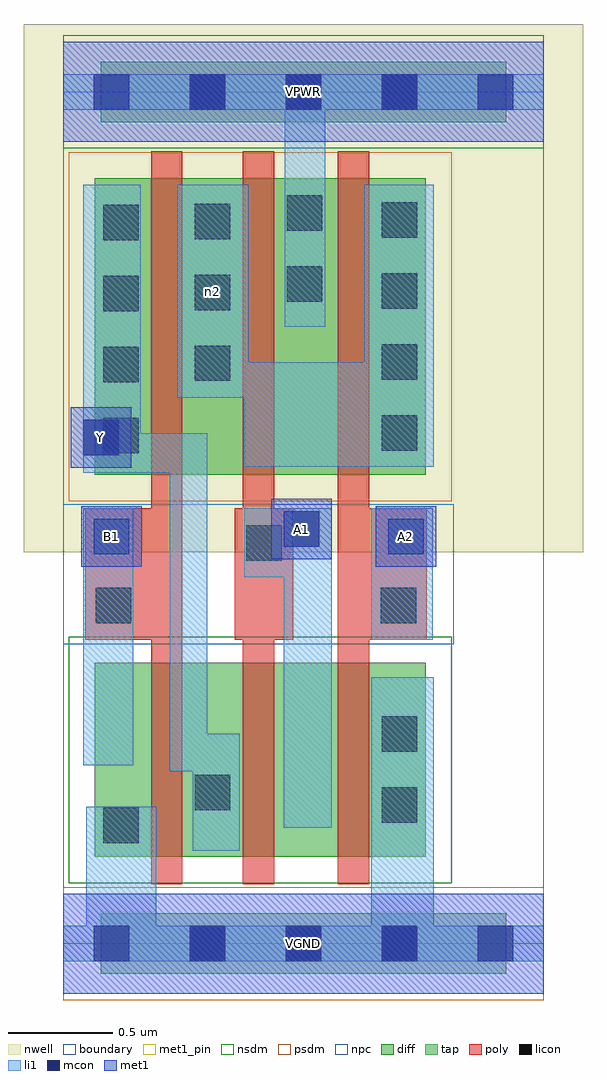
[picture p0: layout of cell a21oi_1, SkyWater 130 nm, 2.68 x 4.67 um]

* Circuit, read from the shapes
.subckt a21oi_1 A1 A2 B1 VGND VPWR Y n2
XM1 Y B1 VGND VGND sky130_fd_pr__nfet_01v8 w=0.93 l=0.15
XM2 n1 A1 Y VGND sky130_fd_pr__nfet_01v8 w=0.93 l=0.15
XM3 VGND A2 n1 VGND sky130_fd_pr__nfet_01v8 w=0.93 l=0.15
XM4 n2 B1 Y VPWR sky130_fd_pr__pfet_01v8 w=1.42 l=0.15
XM5 VPWR A1 n2 VPWR sky130_fd_pr__pfet_01v8 w=1.42 l=0.15
XM6 n2 A2 VPWR VPWR sky130_fd_pr__pfet_01v8 w=1.42 l=0.15
.ends

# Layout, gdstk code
import gdstk
lib = gdstk.Library(unit=1e-6, precision=1e-09)
def R(c, l, rs):  # rectangles x0, y0, x1, y1
    for r in rs: c.add(gdstk.rectangle(r[:2], r[2:], *l))
def A(c, l, x, y, w, h, nx, ny, dx, dy):  # array of equal rectangles
    R(c, l, [(x+i*dx, y+j*dy, x+i*dx+w, y+j*dy+h) for i in range(nx) for j in range(ny)])
nwell = (64, 20)
diff = (65, 20)
tap = (65, 44)
poly = (66, 20)
licon = (66, 44)
li1 = (67, 20)
mcon = (67, 44)
met1_pin = (68, 16)
met1 = (68, 20)
nsdm = (93, 44)
psdm = (94, 20)
npc = (95, 20)
boundary = (235, 4)

a21oi_1 = lib.new_cell('a21oi_1')
R(a21oi_1, nwell, [(-0.19,1.875,2.49,4.405), (0,1.875,2.3,4.405)])
R(a21oi_1, diff, [(0.15,0.415,1.735,1.345), (0.15,2.245,1.735,3.665)])
R(a21oi_1, tap, [(0.18,-0.145,2.12,0.145), (0.18,3.935,2.12,4.225)])
R(a21oi_1, poly, [(0.42,0.285,0.57,3.795), (0.86,0.285,1.01,3.795), (1.315,0.285,1.465,3.795), (0.105,1.455,0.57,2.085), (0.82,1.455,1.1,2.085), (1.315,1.455,1.74,2.085)])
A(a21oi_1, licon, 0.605, -0.085, 0.17, 0.17, 3, 2, 0.46, 4.08)
A(a21oi_1, licon, 0.19, 2.35, 0.17, 0.17, 1, 4, 0, 0.34)
A(a21oi_1, licon, 1.525, 2.36, 0.17, 0.17, 1, 4, 0, 0.34)
A(a21oi_1, licon, 0.63, 2.695, 0.17, 0.17, 1, 3, 0, 0.34)
R(a21oi_1, licon, [(0.19,0.48,0.36,0.65), (1.525,0.58,1.695,0.75), (0.63,0.64,0.8,0.81), (1.525,0.92,1.695,1.09), (0.155,1.535,0.325,1.705), (1.52,1.535,1.69,1.705), (0.875,1.835,1.045,2.005), (1.07,3.075,1.24,3.245), (1.07,3.415,1.24,3.585)])
R(a21oi_1, li1, [(0,-0.085,2.3,0.085), (0.11,-0.085,0.445,0.655), (1.475,-0.085,1.775,1.275), (0.62,0.445,0.845,1.005), (1.055,0.555,1.285,2.085), (0.51,0.825,0.69,2.445), (0.095,0.855,0.335,2.085), (1.475,1.455,1.77,2.085), (0.865,1.755,1.285,2.085), (0.095,2.255,0.37,3.635), (0.095,2.255,0.69,2.445), (0.865,2.285,1.775,2.785), (1.44,2.285,1.775,3.635), (0.545,2.615,0.885,3.635), (1.06,2.955,1.255,4.165), (0,3.995,2.3,4.165)])
A(a21oi_1, mcon, 0.145, -0.085, 0.17, 0.17, 5, 2, 0.46, 4.08)
R(a21oi_1, mcon, [(0.145,1.865,0.315,2.035), (1.555,1.865,1.725,2.035), (1.055,1.9,1.225,2.07), (0.095,2.34,0.265,2.51)])
R(a21oi_1, met1_pin, [(0,-0.24,2.3,0.24), (0.085,1.805,0.375,2.095), (1.495,1.805,1.785,2.095), (0.995,1.84,1.285,2.13), (0.035,2.28,0.325,2.57), (0,3.84,2.3,4.32)])
R(a21oi_1, met1, [(0,-0.24,2.3,0.24), (0.085,1.805,0.375,2.095), (1.495,1.805,1.785,2.095), (0.995,1.84,1.285,2.13), (0.035,2.28,0.325,2.57), (0,3.84,2.3,4.32)])
R(a21oi_1, nsdm, [(0.025,0.29,1.86,1.47), (0,3.81,2.3,4.35)])
R(a21oi_1, psdm, [(0,-0.27,2.3,0.27), (0.025,2.12,1.86,3.79)])
R(a21oi_1, npc, [(0,1.435,1.87,2.105)])
R(a21oi_1, boundary, [(0,0,2.3,4.08)])
a21oi_1.add(gdstk.Label('n2', (0.715,3.125), layer=67, texttype=5))
a21oi_1.add(gdstk.Label('A1', (1.14,1.985), layer=68, texttype=5))
a21oi_1.add(gdstk.Label('A2', (1.64,1.95), layer=68, texttype=5))
a21oi_1.add(gdstk.Label('B1', (0.23,1.95), layer=68, texttype=5))
a21oi_1.add(gdstk.Label('Y', (0.18,2.425), layer=68, texttype=5))
a21oi_1.add(gdstk.Label('VPWR', (1.15,4.08), layer=68, texttype=5))
a21oi_1.add(gdstk.Label('VGND', (1.15,0), layer=68, texttype=5))
a21oi_1.add(gdstk.Label('A1', (1.14,1.985), layer=68, texttype=16))
a21oi_1.add(gdstk.Label('A2', (1.64,1.95), layer=68, texttype=16))
a21oi_1.add(gdstk.Label('B1', (0.23,1.95), layer=68, texttype=16))
a21oi_1.add(gdstk.Label('Y', (0.18,2.425), layer=68, texttype=16))
a21oi_1.add(gdstk.Label('VPWR', (1.15,4.08), layer=68, texttype=16))
a21oi_1.add(gdstk.Label('VGND', (1.15,0), layer=68, texttype=16))

lib.write_gds('a21oi_1.gds')
